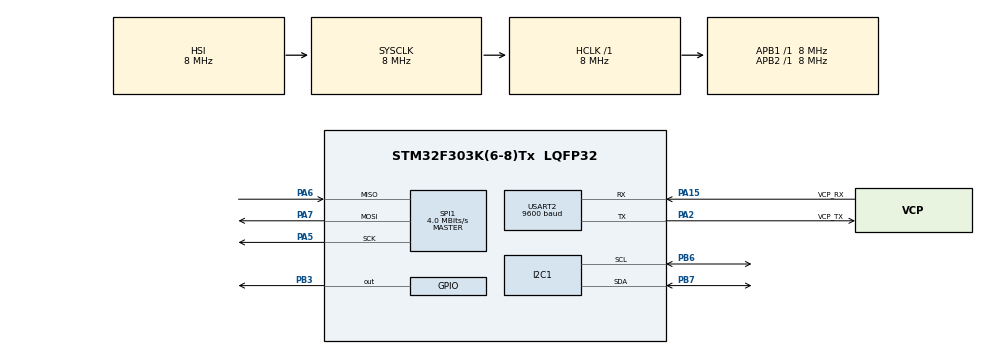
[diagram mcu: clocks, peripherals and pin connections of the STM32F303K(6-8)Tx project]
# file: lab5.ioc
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Mcu.Family=STM32F3
Mcu.Name=STM32F303K(6-8)Tx
Mcu.Package=LQFP32
NVIC.I2C1_ER_IRQn=true\:0\:0\:false\:false\:true\:true\:true\:true
NVIC.I2C1_EV_IRQn=true\:0\:0\:false\:false\:true\:true\:true\:true
NVIC.PriorityGroup=NVIC_PRIORITYGROUP_4
NVIC.USART2_IRQn=true\:0\:0\:false\:false\:true\:true\:true\:true
PA13.GPIO_Label=SWDIO
PA13.Mode=Serial_Wire
PA13.Signal=SYS_JTMS-SWDIO
PA14.GPIO_Label=SWCLK
PA14.Mode=Serial_Wire
PA14.Signal=SYS_JTCK-SWCLK
PA15.GPIO_Label=VCP_RX
PA15.Mode=Asynchronous
PA15.Signal=USART2_RX
PA2.GPIO_Label=VCP_TX
PA2.Mode=Asynchronous
PA2.Signal=USART2_TX
PA5.Mode=Full_Duplex_Master
PA5.Signal=SPI1_SCK
PA6.Mode=Full_Duplex_Master
PA6.Signal=SPI1_MISO
PA7.Mode=Full_Duplex_Master
PA7.Signal=SPI1_MOSI
PB3.Signal=GPIO_Output
PB6.Mode=I2C
PB6.Signal=I2C1_SCL
PB7.Mode=I2C
PB7.Signal=I2C1_SDA
PF0\ /\ OSC_IN.GPIO_Label=MCO
PF0\ /\ OSC_IN.Mode=HSE-External-Oscillator
PF0\ /\ OSC_IN.Signal=RCC_OSC_IN
PF1\ /\ OSC_OUT.Mode=HSE-External-Oscillator
PF1\ /\ OSC_OUT.Signal=RCC_OSC_OUT
ProjectManager.HeapSize=0x200
ProjectManager.StackSize=0x400
ProjectManager.TargetToolchain=MDK-ARM V5.32
RCC.AHBFreq_Value=8000000
RCC.APB1Freq_Value=8000000
RCC.APB2Freq_Value=8000000
RCC.CortexFreq_Value=8000000
RCC.HSE_VALUE=8000000
RCC.HSI_VALUE=8000000
RCC.SYSCLKFreq_VALUE=8000000
SPI1.CalculateBaudRate=4.0 MBits/s
SPI1.Direction=SPI_DIRECTION_2LINES
SPI1.Mode=SPI_MODE_MASTER
SPI1.VirtualType=VM_MASTER
USART2.BaudRate=9600
USART2.VirtualMode-Asynchronous=VM_ASYNC
board=NUCLEO-F303K8

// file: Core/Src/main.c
/* USER CODE BEGIN Header */
/**
  ******************************************************************************
  * @file           : main.c
  * @brief          : Main program body
  ******************************************************************************
  * @attention
  *
  * Copyright (c) 2024 STMicroelectronics.
  * All rights reserved.
  *
  * This software is licensed under terms that can be found in the LICENSE file
  * in the root directory of this software component.
  * If no LICENSE file comes with this software, it is provided AS-IS.
  *
  ******************************************************************************
  */
/* USER CODE END Header */
#include "main.h"

I2C_HandleTypeDef hi2c1;

SPI_HandleTypeDef hspi1;

UART_HandleTypeDef huart2;

void SystemClock_Config(void);
static void MX_GPIO_Init(void);
static void MX_USART2_UART_Init(void);
static void MX_I2C1_Init(void);
static void MX_SPI1_Init(void);

/* USER CODE BEGIN 0 */
	#include "stdio.h"
	char data[6] = "------";
	int flag = 0;
/* USER CODE END 0 */

int main(void)
{
  /* USER CODE BEGIN 1 */
	HAL_Init();
	SystemClock_Config();
	MX_GPIO_Init();
	MX_I2C1_Init();
	MX_USART2_UART_Init();

  /* USER CODE END 1 */

  /* MCU Configuration--------------------------------------------------------*/

  /* Reset of all peripherals, Initializes the Flash interface and the Systick. */
  HAL_Init();

  /* Configure the system clock */
  SystemClock_Config();

  /* Initialize all configured peripherals */
  MX_GPIO_Init();
  MX_USART2_UART_Init();
  MX_I2C1_Init();
  MX_SPI1_Init();
		__HAL_UART_ENABLE_IT(&huart2, UART_IT_RXNE);

  /* USER CODE BEGIN 2 */
	 //check that device is ready to operate
	if (HAL_I2C_IsDeviceReady(&hi2c1, 0xD0, 10, HAL_MAX_DELAY) == HAL_OK)
	{
	for (int i = 1; i<=10;i++) // indicator of ready device
	{
		HAL_GPIO_TogglePin(GPIOB, GPIO_PIN_3);
		HAL_Delay(250);
	}
	}

	//Transmit via I2C to set clock to 7:15:35 am
	uint8_t secbuffer[2], minbuffer[2], hourbuffer[2], alarmsecbuffer[2], alarmminbuffer[2], alarmhourbuffer[2], alarmdt[2], ctrl[2], status[2];

	// seconds
	secbuffer[0] = 0x00; //register address
	secbuffer[1] = 0x00; //data to put in register --> 00 sec
	HAL_I2C_Master_Transmit(&hi2c1, 0xD0, secbuffer, 2, 10);
	// minutes
	minbuffer[0] = 0x01; //register address
	minbuffer[1] = 0x46; //data to put in register --> 46 min
	HAL_I2C_Master_Transmit(&hi2c1, 0xD0, minbuffer, 2, 10);
	// hours
	hourbuffer[0] = 0x02; //register address
	hourbuffer[1] = 0x12; //data to put in register 00010010 --> 12 pm
	HAL_I2C_Master_Transmit(&hi2c1, 0xD0, hourbuffer, 2, 10);

	//Receive via I2C and forward to UART
	uint8_t h1,h2,m1,m2,s1,s2;
	char uartBuf [100] = {0};

//send seconds register address 00h to read from
	HAL_I2C_Master_Transmit(&hi2c1, 0xD0, secbuffer, 1, 10);
	//read data of register 00h to secbuffer[1]
	HAL_I2C_Master_Receive(&hi2c1, 0xD1, secbuffer+1, 1, 10);
	//prepare UART output
	s1 = secbuffer[1] >> 4;
	s2 = secbuffer[1] & 0x0F;
	HAL_I2C_Master_Transmit(&hi2c1, 0xD0, minbuffer, 1, 10);
	HAL_I2C_Master_Receive(&hi2c1, 0xD1, minbuffer+1, 1, 10);
	m1 = minbuffer[1] >> 4;
	m2 = minbuffer[1] & 0x0F;
	HAL_I2C_Master_Transmit(&hi2c1, 0xD0, hourbuffer, 1, 10);
	HAL_I2C_Master_Receive(&hi2c1, 0xD1, hourbuffer+1, 1, 10);
	h1 = (hourbuffer[1] >> 4) & 1;
	h2 = hourbuffer[1] & 0x0F;
	// transmit time to UART
	sprintf(uartBuf, "%d%d:%d%d:%d%d\r\n",h1,h2,m1,m2,s1,s2);
	HAL_UART_Transmit(&huart2, (uint8_t *)uartBuf, sizeof(uartBuf), 10);
	int flagOther = 0;

	while (1)
	{

		if(flag){
				// alarm seconds
			alarmsecbuffer[0] = 0x07;
			alarmsecbuffer[1] = (data[4] << 4) | data[5]; // 0 seconds
			// alarm min
			alarmminbuffer[0] = 0x08;
			alarmminbuffer[1] = (data[2] << 4) | data[3]; // minute 47
			// alarm hour
			alarmhourbuffer[0] = 0x09;
			alarmhourbuffer[1] = (data[0] << 4) | data[1]; // 12 24hr format 0001 0010

			// alarm mask
			ctrl[0] = 0x0E;
			ctrl[1] = 0x1D;
			//status mask
			status[0] = 0x0F;
			status[1] = 0x88;

			alarmdt[0] = 0x0A;
			alarmdt[1] = 0x80;
			HAL_I2C_Master_Transmit(&hi2c1, 0xD0, alarmsecbuffer, 2, 10);
			HAL_I2C_Master_Transmit(&hi2c1, 0xD0, alarmminbuffer, 2, 10);
			HAL_I2C_Master_Transmit(&hi2c1, 0xD0, alarmhourbuffer, 2, 10);
			HAL_I2C_Master_Transmit(&hi2c1, 0xD0, alarmdt, 2, 10);
			HAL_I2C_Master_Transmit(&hi2c1, 0xD0, ctrl, 2, 10);
			HAL_I2C_Master_Transmit(&hi2c1, 0xD0, status, 2, 10);
			flagOther = 1;
			//send seconds register address 00h to read from
			HAL_I2C_Master_Transmit(&hi2c1, 0xD0, secbuffer, 1, 10);
			//read data of register 00h to secbuffer[1]
			HAL_I2C_Master_Receive(&hi2c1, 0xD1, secbuffer+1, 1, 10);
			//prepare UART output
			s1 = secbuffer[1] >> 4;
			s2 = secbuffer[1] & 0x0F;
			HAL_I2C_Master_Transmit(&hi2c1, 0xD0, minbuffer, 1, 10);
			HAL_I2C_Master_Receive(&hi2c1, 0xD1, minbuffer+1, 1, 10);
			m1 = minbuffer[1] >> 4;
			m2 = minbuffer[1] & 0x0F;
			HAL_I2C_Master_Transmit(&hi2c1, 0xD0, hourbuffer, 1, 10);
			HAL_I2C_Master_Receive(&hi2c1, 0xD1, hourbuffer+1, 1, 10);
			h1 = (hourbuffer[1] >> 4) & 1;
			h2 = hourbuffer[1] & 0x0F;
			// transmit time to UART
			sprintf(uartBuf, "%d%d:%d%d:%d%d\r\n",h1,h2,m1,m2,s1,s2);
			HAL_UART_Transmit(&huart2, (uint8_t *)uartBuf, sizeof(uartBuf), 10);
			flag = 0;
		}

		if(flagOther){
			HAL_I2C_Master_Transmit(&hi2c1, 0xD0, secbuffer, 1, 10);

				//read data of register 00h to secbuffer[1]
			HAL_I2C_Master_Receive(&hi2c1, 0xD1, secbuffer+1, 1, 10);
			//prepare UART output
			s1 = secbuffer[1] >> 4;
			s2 = secbuffer[1] & 0x0F;
			HAL_I2C_Master_Transmit(&hi2c1, 0xD0, minbuffer, 1, 10);
			HAL_I2C_Master_Receive(&hi2c1, 0xD1, minbuffer+1, 1, 10);
			m1 = minbuffer[1] >> 4;
			m2 = minbuffer[1] & 0x0F;
			HAL_I2C_Master_Transmit(&hi2c1, 0xD0, hourbuffer, 1, 10);
			HAL_I2C_Master_Receive(&hi2c1, 0xD1, hourbuffer+1, 1, 10);
			h1 = (hourbuffer[1] >> 4) & 1;
			h2 = hourbuffer[1] & 0x0F;
			sprintf(uartBuf, "%d%d:%d%d:%d%d\r\n",h1,h2,m1,m2,s1,s2);
			HAL_UART_Transmit(&huart2, (uint8_t *)uartBuf, sizeof(uartBuf), 10);
		}

		HAL_Delay(1000);
	}
  /* USER CODE END 2 */

  /* Infinite loop */

}

void SystemClock_Config(void)
{
  RCC_OscInitTypeDef RCC_OscInitStruct = {0};
  RCC_ClkInitTypeDef RCC_ClkInitStruct = {0};
  RCC_PeriphCLKInitTypeDef PeriphClkInit = {0};

  /** Initializes the RCC Oscillators according to the specified parameters
  * in the RCC_OscInitTypeDef structure.
  */
  RCC_OscInitStruct.OscillatorType = RCC_OSCILLATORTYPE_HSI;
  RCC_OscInitStruct.HSIState = RCC_HSI_ON;
  RCC_OscInitStruct.HSICalibrationValue = RCC_HSICALIBRATION_DEFAULT;
  RCC_OscInitStruct.PLL.PLLState = RCC_PLL_NONE;
  if (HAL_RCC_OscConfig(&RCC_OscInitStruct) != HAL_OK)
  {
    Error_Handler();
  }

  /** Initializes the CPU, AHB and APB buses clocks
  */
  RCC_ClkInitStruct.ClockType = RCC_CLOCKTYPE_HCLK|RCC_CLOCKTYPE_SYSCLK
                              |RCC_CLOCKTYPE_PCLK1|RCC_CLOCKTYPE_PCLK2;
  RCC_ClkInitStruct.SYSCLKSource = RCC_SYSCLKSOURCE_HSI;
  RCC_ClkInitStruct.AHBCLKDivider = RCC_SYSCLK_DIV1;
  RCC_ClkInitStruct.APB1CLKDivider = RCC_HCLK_DIV1;
  RCC_ClkInitStruct.APB2CLKDivider = RCC_HCLK_DIV1;

  if (HAL_RCC_ClockConfig(&RCC_ClkInitStruct, FLASH_LATENCY_0) != HAL_OK)
  {
    Error_Handler();
  }
  PeriphClkInit.PeriphClockSelection = RCC_PERIPHCLK_I2C1;
  PeriphClkInit.I2c1ClockSelection = RCC_I2C1CLKSOURCE_HSI;
  if (HAL_RCCEx_PeriphCLKConfig(&PeriphClkInit) != HAL_OK)
  {
    Error_Handler();
  }
}

static void MX_I2C1_Init(void)
{

  hi2c1.Instance = I2C1;
  hi2c1.Init.Timing = 0x2000090E;
  hi2c1.Init.OwnAddress1 = 0;
  hi2c1.Init.AddressingMode = I2C_ADDRESSINGMODE_7BIT;
  hi2c1.Init.DualAddressMode = I2C_DUALADDRESS_DISABLE;
  hi2c1.Init.OwnAddress2 = 0;
  hi2c1.Init.OwnAddress2Masks = I2C_OA2_NOMASK;
  hi2c1.Init.GeneralCallMode = I2C_GENERALCALL_DISABLE;
  hi2c1.Init.NoStretchMode = I2C_NOSTRETCH_DISABLE;
  if (HAL_I2C_Init(&hi2c1) != HAL_OK)
  {
    Error_Handler();
  }

  /** Configure Analogue filter
  */
  if (HAL_I2CEx_ConfigAnalogFilter(&hi2c1, I2C_ANALOGFILTER_ENABLE) != HAL_OK)
  {
    Error_Handler();
  }

  /** Configure Digital filter
  */
  if (HAL_I2CEx_ConfigDigitalFilter(&hi2c1, 0) != HAL_OK)
  {
    Error_Handler();
  }

}

static void MX_SPI1_Init(void)
{

  /* SPI1 parameter configuration*/
  hspi1.Instance = SPI1;
  hspi1.Init.Mode = SPI_MODE_MASTER;
  hspi1.Init.Direction = SPI_DIRECTION_2LINES;
  hspi1.Init.DataSize = SPI_DATASIZE_4BIT;
  hspi1.Init.CLKPolarity = SPI_POLARITY_LOW;
  hspi1.Init.CLKPhase = SPI_PHASE_1EDGE;
  hspi1.Init.NSS = SPI_NSS_SOFT;
  hspi1.Init.BaudRatePrescaler = SPI_BAUDRATEPRESCALER_2;
  hspi1.Init.FirstBit = SPI_FIRSTBIT_MSB;
  hspi1.Init.TIMode = SPI_TIMODE_DISABLE;
  hspi1.Init.CRCCalculation = SPI_CRCCALCULATION_DISABLE;
  hspi1.Init.CRCPolynomial = 7;
  hspi1.Init.CRCLength = SPI_CRC_LENGTH_DATASIZE;
  hspi1.Init.NSSPMode = SPI_NSS_PULSE_ENABLE;
  if (HAL_SPI_Init(&hspi1) != HAL_OK)
  {
    Error_Handler();
  }

}

static void MX_USART2_UART_Init(void)
{

  huart2.Instance = USART2;
  huart2.Init.BaudRate = 9600;
  huart2.Init.WordLength = UART_WORDLENGTH_8B;
  huart2.Init.StopBits = UART_STOPBITS_1;
  huart2.Init.Parity = UART_PARITY_NONE;
  huart2.Init.Mode = UART_MODE_TX_RX;
  huart2.Init.HwFlowCtl = UART_HWCONTROL_NONE;
  huart2.Init.OverSampling = UART_OVERSAMPLING_16;
  huart2.Init.OneBitSampling = UART_ONE_BIT_SAMPLE_DISABLE;
  huart2.AdvancedInit.AdvFeatureInit = UART_ADVFEATURE_NO_INIT;
  if (HAL_UART_Init(&huart2) != HAL_OK)
  {
    Error_Handler();
  }

}

static void MX_GPIO_Init(void)
{
  GPIO_InitTypeDef GPIO_InitStruct = {0};

  /* GPIO Ports Clock Enable */
  __HAL_RCC_GPIOF_CLK_ENABLE();
  __HAL_RCC_GPIOA_CLK_ENABLE();
  __HAL_RCC_GPIOB_CLK_ENABLE();

  /*Configure GPIO pin Output Level */
  HAL_GPIO_WritePin(GPIOB, GPIO_PIN_3, GPIO_PIN_RESET);

  /*Configure GPIO pin : PB3 */
  GPIO_InitStruct.Pin = GPIO_PIN_3;
  GPIO_InitStruct.Mode = GPIO_MODE_OUTPUT_PP;
  GPIO_InitStruct.Pull = GPIO_NOPULL;
  GPIO_InitStruct.Speed = GPIO_SPEED_FREQ_LOW;
  HAL_GPIO_Init(GPIOB, &GPIO_InitStruct);

}

void Error_Handler(void)
{
  __disable_irq();
  while (1)
  {
  }
}
